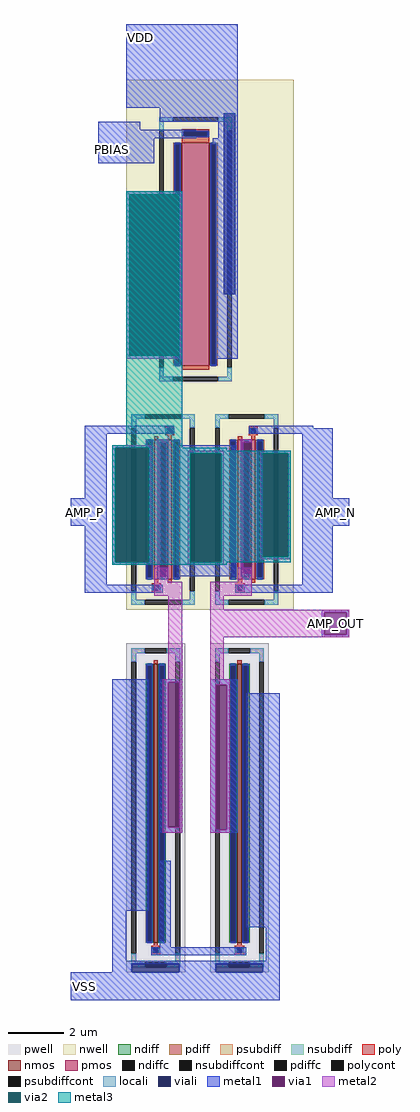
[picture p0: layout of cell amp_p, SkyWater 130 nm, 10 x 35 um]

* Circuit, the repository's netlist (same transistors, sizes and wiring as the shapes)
** sch_path: /home/ttuser/tt_analog_z2a_2/xschem/amp_p.sch
.subckt amp_p VDD VSS AMP_OUT AMP_P AMP_N PBIAS
*.PININFO AMP_P:I AMP_N:I AMP_OUT:O PBIAS:I VDD:B VSS:B
XM1 VTAIL PBIAS VDD VDD sky130_fd_pr__pfet_01v8 L=1 W=8 nf=1 m=1
XM2 AMP_OUT VFOLD VSS VSS sky130_fd_pr__nfet_01v8 L=0.15 W=10 nf=1 m=1
XM6 VFOLD VFOLD VSS VSS sky130_fd_pr__nfet_01v8 L=0.15 W=10 nf=1 m=1
XM4 AMP_OUT AMP_N VTAIL VDD sky130_fd_pr__pfet_01v8 L=0.15 W=10 nf=2 m=1
XM5 VFOLD AMP_P VTAIL VDD sky130_fd_pr__pfet_01v8 L=0.15 W=10 nf=2 m=1
.ends
.end

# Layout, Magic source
magic
tech sky130A
magscale 1 2
<< nwell >>
rect 1000 -600 2200 3200
<< viali >>
rect 1040 -3200 1380 -3140
rect 1640 -3200 1980 -3140
<< metal1 >>
rect 1000 3000 1800 3600
rect 1240 2900 1800 3000
rect 800 2800 1100 2900
rect 800 2600 1200 2800
rect 1000 1200 1400 2400
rect 1700 1200 1800 2900
rect 700 660 1340 720
rect 1880 700 2340 720
rect 1880 660 2480 700
rect 700 200 860 660
rect 1220 600 1300 620
rect 600 0 860 200
rect 700 -420 860 0
rect 900 560 1180 580
rect 900 -260 920 560
rect 1160 -260 1180 560
rect 900 -280 1180 -260
rect 1220 -360 1240 600
rect 1820 600 1900 620
rect 1360 520 1780 580
rect 1360 -260 1460 520
rect 1680 -260 1780 520
rect 1360 -360 1780 -260
rect 1820 -340 1840 600
rect 1960 520 2180 540
rect 1960 -220 1980 520
rect 2160 -220 2180 520
rect 1960 -240 2180 -220
rect 2260 200 2480 660
rect 2260 0 2600 200
rect 1820 -360 1900 -340
rect 1220 -380 1300 -360
rect 2260 -420 2480 0
rect 700 -480 1260 -420
rect 1780 -480 2480 -420
rect 2400 -620 2600 -600
rect 2400 -780 2420 -620
rect 2580 -780 2600 -620
rect 2400 -800 2600 -780
rect 900 -2760 1160 -1100
rect 900 -3120 1000 -2760
rect 1240 -3020 1320 -2400
rect 1860 -2880 2100 -1200
rect 1180 -3080 1860 -3020
rect 2000 -3120 2100 -2880
rect 900 -3140 2100 -3120
rect 900 -3200 1040 -3140
rect 1380 -3200 1640 -3140
rect 1980 -3200 2100 -3140
rect 600 -3400 2100 -3200
<< via1 >>
rect 920 -260 1160 560
rect 1240 -360 1300 600
rect 1460 -260 1680 520
rect 1840 -340 1900 600
rect 1980 -220 2160 520
rect 2420 -780 2580 -620
<< metal2 >>
rect 1000 1200 1400 2400
rect 1220 600 1300 620
rect 900 560 1180 580
rect 900 -260 920 560
rect 1160 -260 1180 560
rect 900 -280 1180 -260
rect 1220 -360 1240 600
rect 1820 600 1900 620
rect 1440 520 1700 540
rect 1440 -260 1460 520
rect 1680 -260 1700 520
rect 1440 -280 1700 -260
rect 1820 -340 1840 600
rect 1960 520 2180 540
rect 1960 -220 1980 520
rect 2160 -220 2180 520
rect 1960 -240 2180 -220
rect 1820 -360 1900 -340
rect 1220 -380 1300 -360
rect 1600 -620 2600 -600
rect 1600 -780 2420 -620
rect 2580 -780 2600 -620
rect 1600 -800 2600 -780
<< via2 >>
rect 920 -260 1160 560
rect 1460 -260 1680 520
rect 1980 -220 2160 520
<< metal3 >>
rect 1000 580 1400 2400
rect 900 560 1400 580
rect 900 -260 920 560
rect 1160 540 1720 560
rect 1160 520 2180 540
rect 1160 -260 1460 520
rect 1680 -220 1980 520
rect 2160 -220 2180 520
rect 1680 -260 2180 -220
rect 900 -280 1720 -260
use sky130_fd_pr__nfet_01v8_A5WNKR  sky130_fd_pr__nfet_01v8_A5WNKR_0
transform 1 0 1811 0 1 -2021
box -211 -1179 211 1179
use sky130_fd_pr__pfet_01v8_MGEV6J  sky130_fd_pr__pfet_01v8_MGEV6J_0
transform 1 0 1863 0 1 119
box -263 -719 263 719
use sky130_fd_pr__pfet_01v8_SB2EVP  XM1
transform 1 0 1496 0 1 1984
box -576 -4184 404 1256
use sky130_fd_pr__nfet_01v8_A5WNKR  XM2
transform 1 0 1211 0 1 -2021
box -211 -1179 211 1179
use sky130_fd_pr__pfet_01v8_MGEV6J  XM4
transform 1 0 1263 0 1 119
box -263 -719 263 719
<< labels >>
flabel metal1 600 -3400 800 -3200 0 FreeSans 256 0 0 0 VSS
port 1 nsew
flabel metal1 1000 3400 1200 3600 0 FreeSans 256 0 0 0 VDD
port 0 nsew
flabel metal1 800 2600 1000 2800 0 FreeSans 256 0 0 0 PBIAS
port 5 nsew
flabel metal1 600 0 800 200 0 FreeSans 256 0 0 0 AMP_P
port 3 nsew
flabel metal1 2400 0 2600 200 0 FreeSans 256 0 0 0 AMP_N
port 4 nsew
flabel metal1 2400 -800 2600 -600 0 FreeSans 256 0 0 0 AMP_OUT
port 2 nsew
<< end >>

# cell sky130_fd_pr__nfet_01v8_A5WNKR: kit device sky130_fd_pr__nfet_01v8, w 10.0 l 0.15 m 1 nf 1 diffcov 100 polycov 100 guard 1 glc 1 grc 1 gtc 1 gbc 1 tbcov 100 rlcov 100 topc 0 botc 1 poverlap 0 doverlap 1 lmin 0.15 wmin 0.42 compatible {sky130_fd_pr__nfet_01v8 sky130_fd_pr__nfet_01v8_lvt sky130_fd_bs_flash__special_sonosfet_star sky130_fd_pr__nfet_g5v0d10v5 sky130_fd_pr__nfet_05v0_nvt sky130_fd_pr__nfet_03v3_nvt} full_metal 1 viasrc 100 viadrn 100 viagate 100 viagb 0 viagr 0 viagl 0 viagt 0

# cell sky130_fd_pr__pfet_01v8_MGEV6J: kit device sky130_fd_pr__pfet_01v8, w 5.0 l 0.15 m 1 nf 2 diffcov 100 polycov 100 guard 1 glc 1 grc 1 gtc 1 gbc 1 tbcov 100 rlcov 100 topc 0 botc 1 poverlap 0 doverlap 1 lmin 0.15 wmin 0.42 compatible {sky130_fd_pr__pfet_01v8 sky130_fd_pr__pfet_01v8_lvt sky130_fd_pr__pfet_01v8_hvt sky130_fd_pr__pfet_g5v0d10v5} full_metal 1 viasrc 100 viadrn 100 viagate 100 viagb 0 viagr 0 viagl 0 viagt 0

# cell sky130_fd_pr__pfet_01v8_SB2EVP: kit device sky130_fd_pr__pfet_01v8, w 8.0 l 1.0 m 1 nf 1 diffcov 100 polycov 100 guard 1 glc 1 grc 1 gtc 1 gbc 1 tbcov 100 rlcov 100 topc 1 botc 0 poverlap 0 doverlap 1 lmin 0.15 wmin 0.42 compatible {sky130_fd_pr__pfet_01v8 sky130_fd_pr__pfet_01v8_lvt sky130_fd_pr__pfet_01v8_hvt sky130_fd_pr__pfet_g5v0d10v5} full_metal 1 viasrc 100 viadrn 100 viagate 100 viagb 0 viagr 0 viagl 0 viagt 0
